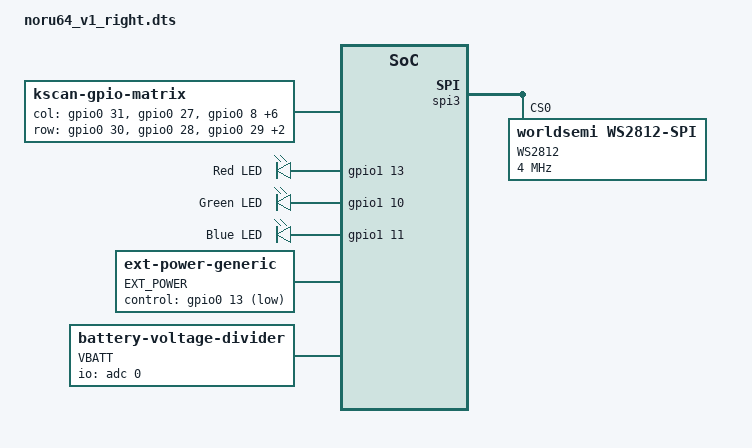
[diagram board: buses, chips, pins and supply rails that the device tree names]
/*
 * Copyright (c) 2020 Eric Lau
 *
 * SPDX-License-Identifier: MIT
 */

#include "noru64_v1.dts"
#include "noru64_v1_right_pinctrl.dtsi"

	/ {
		chosen {
			zmk,underglow = &led_strip;
			zmk,battery = &vbatt;
		};
	
		default_transform: keymap_transform_0 {
			col-offset = <7>;
		};
	
		kscan0: kscan_0 {
			compatible = "zmk,kscan-gpio-matrix";
			label = "KSCAN";
			diode-direction = "col2row";
	
			col-gpios
				= <&gpio0 31 GPIO_ACTIVE_HIGH>
				, <&gpio0 27 GPIO_ACTIVE_HIGH>
				, <&gpio0 8  GPIO_ACTIVE_HIGH>
				, <&gpio0 21 GPIO_ACTIVE_HIGH>
				, <&gpio0 25 GPIO_ACTIVE_HIGH>
				, <&gpio1 0  GPIO_ACTIVE_HIGH>
				, <&gpio0 24 GPIO_ACTIVE_HIGH>
				, <&gpio0 23 GPIO_ACTIVE_HIGH>
				, <&gpio0 20 GPIO_ACTIVE_HIGH>
				;
	
			row-gpios
				= <&gpio0 30 (GPIO_ACTIVE_HIGH | GPIO_PULL_DOWN)>
				, <&gpio0 28 (GPIO_ACTIVE_HIGH | GPIO_PULL_DOWN)>
				, <&gpio0 29 (GPIO_ACTIVE_HIGH | GPIO_PULL_DOWN)>
				, <&gpio1 15 (GPIO_ACTIVE_HIGH | GPIO_PULL_DOWN)>
				, <&gpio0 15 (GPIO_ACTIVE_HIGH | GPIO_PULL_DOWN)>
				;
		};

		leds {
		    compatible = "gpio-leds";
		    red_led: led_0 {
			    gpios = <&gpio1 13 GPIO_ACTIVE_HIGH>;
			    label = "Red LED";
		    };
		    green_led: led_1 {
			    gpios = <&gpio1 10 GPIO_ACTIVE_HIGH>;
			    label = "Green LED";
		    };
		    blue_led: led_2 {
			    gpios = <&gpio1 11 GPIO_ACTIVE_HIGH>;
			    label = "Blue LED";
		    };
	    };

		ext-power {
			 compatible = "zmk,ext-power-generic";
			 label = "EXT_POWER";
			 control-gpios = <&gpio0 13 GPIO_ACTIVE_LOW>;   /*0.13*/
		};
	
		vbatt: vbatt {
			 compatible = "zmk,battery-voltage-divider";
			 label = "VBATT";
			 io-channels = <&adc 0>;
             output-ohms = <10000000>;
		     full-ohms   = <(10000000 + 4000000)>;
		};
};

    &spi3 {
        compatible = "nordic,nrf-spim";
        status = "okay";
      
        pinctrl-0 = <&spi3_default>;
        pinctrl-1 = <&spi3_sleep>;
        pinctrl-names = "default", "sleep";
      
        led_strip: ws2812@0 {
          compatible = "worldsemi,ws2812-spi";
          label = "WS2812";
      
          /* SPI */
          reg = <0>; /* ignored, but necessary for SPI bindings */
          spi-max-frequency = <4000000>;
      
          /* WS2812 */
          chain-length = <8>; /* number of LEDs */
          spi-one-frame = <0x70>;
          spi-zero-frame = <0x40>;
          color-mapping = <LED_COLOR_ID_GREEN
                                LED_COLOR_ID_RED
                                LED_COLOR_ID_BLUE>;
        };
      };
